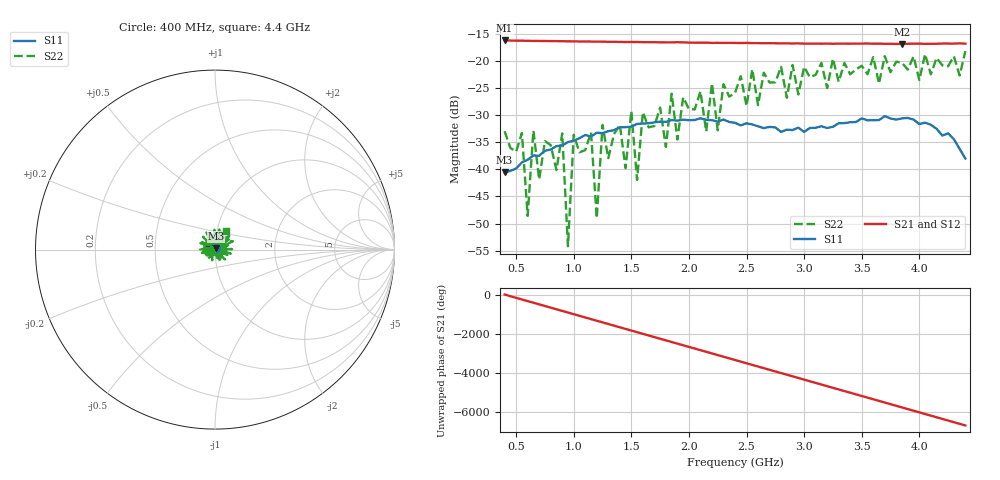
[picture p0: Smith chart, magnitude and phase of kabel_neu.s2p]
#  HZ  S  RI  R  50.0
! Rohde & Schwarz ZVL
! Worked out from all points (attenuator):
!   81 points, 400 MHz to 4.4 GHz, reference 50 ohm
!   highest |S21| = -16.27 dB at 400 MHz (marker M1); lowest = -16.9 dB at 3.85 GHz (marker M2)
!   lowest |S11| = -40.6 dB at 400 MHz (marker M3), VSWR 1.02, Z = 50.6 + j0.738 ohm
!   |S11| at or under -10 dB: start of sweep to end of sweep
!   |S22| runs from -54.2 to -18.2 dB; largest |S21 - S12| = 0.0015
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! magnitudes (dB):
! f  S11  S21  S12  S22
! 400 MHz  -40.6  -16.3  -16.3  -33.0
! 550 MHz  -38.7  -16.3  -16.3  -33.3
! 600 MHz  -38.2  -16.3  -16.3  -48.6
! 650 MHz  -37.4  -16.3  -16.3  -32.9
! 700 MHz  -37.5  -16.4  -16.4  -41.9
! 900 MHz  -35.6  -16.4  -16.4  -33.4
! 950 MHz  -35.0  -16.4  -16.4  -54.2
! 1 GHz  -34.7  -16.4  -16.4  -33.6
! 1.1 GHz  -33.7  -16.5  -16.5  -36.5
! 1.15 GHz  -34.0  -16.5  -16.5  -33.2
! 1.2 GHz  -33.3  -16.5  -16.5  -49.0
! 1.25 GHz  -33.3  -16.5  -16.5  -31.8
! 1.45 GHz  -32.2  -16.6  -16.5  -39.8
! 1.5 GHz  -32.1  -16.5  -16.5  -29.3
! 1.55 GHz  -31.6  -16.5  -16.6  -42.0
! 1.6 GHz  -31.6  -16.6  -16.6  -29.5
! 1.75 GHz  -31.2  -16.6  -16.6  -28.6
! 2.4 GHz  -31.4  -16.7  -16.7  -25.9
! 3.1 GHz  -32.4  -16.8  -16.8  -22.6
! 3.75 GHz  -30.6  -16.9  -16.9  -22.1
! 3.85 GHz  -30.6  -16.9  -16.9  -20.4
! 4.4 GHz  -38.0  -16.8  -16.9  -18.2
